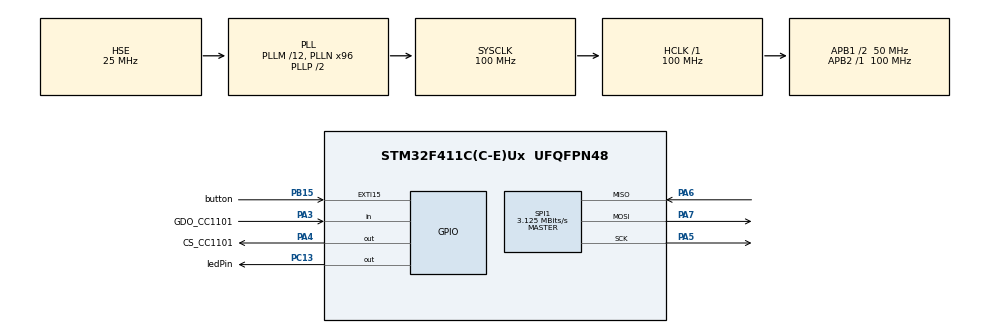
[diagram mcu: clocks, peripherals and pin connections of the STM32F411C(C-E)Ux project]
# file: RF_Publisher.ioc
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Mcu.Family=STM32F4
Mcu.Name=STM32F411C(C-E)Ux
Mcu.Package=UFQFPN48
NVIC.EXTI15_10_IRQn=true\:0\:0\:false\:false\:true\:true\:true\:true
NVIC.PriorityGroup=NVIC_PRIORITYGROUP_4
PA13.Mode=Serial_Wire
PA13.Signal=SYS_JTMS-SWDIO
PA14.Mode=Serial_Wire
PA14.Signal=SYS_JTCK-SWCLK
PA3.GPIO_Label=GDO_CC1101
PA3.GPIO_PuPd=GPIO_PULLDOWN
PA3.Signal=GPIO_Input
PA4.GPIO_Label=CS_CC1101
PA4.Signal=GPIO_Output
PA5.Mode=Full_Duplex_Master
PA5.Signal=SPI1_SCK
PA6.Mode=Full_Duplex_Master
PA6.Signal=SPI1_MISO
PA7.Mode=Full_Duplex_Master
PA7.Signal=SPI1_MOSI
PB15.GPIO_Label=button
PB15.GPIO_ModeDefaultEXTI=GPIO_MODE_IT_FALLING
PB15.GPIO_PuPd=GPIO_PULLUP
PB15.Signal=GPXTI15
PC13-ANTI_TAMP.GPIO_Label=ledPin
PC13-ANTI_TAMP.Signal=GPIO_Output
PH0\ -\ OSC_IN.Mode=HSE-External-Oscillator
PH0\ -\ OSC_IN.Signal=RCC_OSC_IN
PH1\ -\ OSC_OUT.Mode=HSE-External-Oscillator
PH1\ -\ OSC_OUT.Signal=RCC_OSC_OUT
ProjectManager.HeapSize=0x200
ProjectManager.StackSize=0x400
ProjectManager.TargetToolchain=CMake
RCC.48MHZClocksFreq_Value=50000000
RCC.AHBFreq_Value=100000000
RCC.APB1CLKDivider=RCC_HCLK_DIV2
RCC.APB1Freq_Value=50000000
RCC.APB1TimFreq_Value=100000000
RCC.APB2Freq_Value=100000000
RCC.APB2TimFreq_Value=100000000
RCC.CortexFreq_Value=100000000
RCC.HCLKFreq_Value=100000000
RCC.HSE_VALUE=25000000
RCC.HSI_VALUE=16000000
RCC.LSE_VALUE=32768
RCC.PLLM=12
RCC.PLLN=96
RCC.PLLSourceVirtual=RCC_PLLSOURCE_HSE
RCC.SYSCLKFreq_VALUE=100000000
RCC.SYSCLKSource=RCC_SYSCLKSOURCE_PLLCLK
RCC.VCOOutputFreq_Value=200000000
SPI1.BaudRatePrescaler=SPI_BAUDRATEPRESCALER_32
SPI1.CalculateBaudRate=3.125 MBits/s
SPI1.Direction=SPI_DIRECTION_2LINES
SPI1.Mode=SPI_MODE_MASTER
SPI1.VirtualType=VM_MASTER
board=custom

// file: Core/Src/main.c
/* USER CODE BEGIN Header */
/**
  ******************************************************************************
  * @file           : main.c
  * @brief          : Main program body
  ******************************************************************************
  * @attention
  *
  * Copyright (c) 2026 STMicroelectronics.
  * All rights reserved.
  *
  * This software is licensed under terms that can be found in the LICENSE file
  * in the root directory of this software component.
  * If no LICENSE file comes with this software, it is provided AS-IS.
  *
  ******************************************************************************
  */
/* USER CODE END Header */
#include "main.h"

/* USER CODE BEGIN Includes */
#include "cc1101.h"
#include "stm32f4xx.h"
#include "stm32f4xx_hal_gpio.h"
#include <stdint.h>
/* USER CODE END Includes */

SPI_HandleTypeDef hspi1;

/* USER CODE BEGIN PV */
uint8_t CC1101_Version;
uint8_t CC1101_PartNum;
uint8_t tx_counter = 0;
uint8_t marcstate = 0;
volatile uint8_t button_pressed = 0;
/* USER CODE END PV */

void SystemClock_Config(void);
static void MX_GPIO_Init(void);
static void MX_SPI1_Init(void);

/* USER CODE BEGIN 0 */
// must put here so spi is in scope for the cc1101 struct initializer
CC1101_t cc1101 = {
    .hspi = &hspi1,
    .csPort = CS_CC1101_GPIO_Port,
    .csPin = CS_CC1101_Pin,
    .gdo0Port = GDO_CC1101_GPIO_Port,
    .gdo0Pin = GDO_CC1101_Pin
};
/* USER CODE END 0 */

int main(void)
{

  /* MCU Configuration--------------------------------------------------------*/

  /* Reset of all peripherals, Initializes the Flash interface and the Systick. */
  HAL_Init();

  /* Configure the system clock */
  SystemClock_Config();

  /* Initialize all configured peripherals */
  MX_GPIO_Init();
  MX_SPI1_Init();
  /* USER CODE BEGIN 2 */
if (!CC1101_Init(&cc1101)) {
    // Initialization failed, handle error (e.g., blink LED rapidly)
    while (1) {
        HAL_GPIO_TogglePin(ledPin_GPIO_Port, ledPin_Pin);
        HAL_Delay(50);
    }
}
CC1101_Version = CC1101_ReadReg(&cc1101, CC1101_VERSION);
CC1101_PartNum = CC1101_ReadReg(&cc1101, CC1101_PARTNUM);
CC1101_SetMaxPower(&cc1101); // Set max power for testing (limited for 433MHz)
  /* USER CODE END 2 */

  /* Infinite loop */
  /* USER CODE BEGIN WHILE */
  uint32_t last_heartbeat = 0;
  while (1)
  {
    if (HAL_GetTick() - last_heartbeat > 1000) {
        HAL_GPIO_TogglePin(ledPin_GPIO_Port, ledPin_Pin);
        last_heartbeat = HAL_GetTick();
    }
    if (button_pressed) {
        // Handle button press event
        //debounce
        HAL_Delay(50); // debounce
        if (HAL_GPIO_ReadPin(button_GPIO_Port, button_Pin) == GPIO_PIN_RESET) {
          CC1101_SendPacket(&cc1101, &tx_counter, sizeof(tx_counter));
          tx_counter++;
        }
        button_pressed = 0; // Reset flag
    }

  }
    /* USER CODE END WHILE */

}

void SystemClock_Config(void)
{
  RCC_OscInitTypeDef RCC_OscInitStruct = {0};
  RCC_ClkInitTypeDef RCC_ClkInitStruct = {0};

  /** Configure the main internal regulator output voltage
  */
  __HAL_RCC_PWR_CLK_ENABLE();
  __HAL_PWR_VOLTAGESCALING_CONFIG(PWR_REGULATOR_VOLTAGE_SCALE1);

  /** Initializes the RCC Oscillators according to the specified parameters
  * in the RCC_OscInitTypeDef structure.
  */
  RCC_OscInitStruct.OscillatorType = RCC_OSCILLATORTYPE_HSE;
  RCC_OscInitStruct.HSEState = RCC_HSE_ON;
  RCC_OscInitStruct.PLL.PLLState = RCC_PLL_ON;
  RCC_OscInitStruct.PLL.PLLSource = RCC_PLLSOURCE_HSE;
  RCC_OscInitStruct.PLL.PLLM = 12;
  RCC_OscInitStruct.PLL.PLLN = 96;
  RCC_OscInitStruct.PLL.PLLP = RCC_PLLP_DIV2;
  RCC_OscInitStruct.PLL.PLLQ = 4;
  if (HAL_RCC_OscConfig(&RCC_OscInitStruct) != HAL_OK)
  {
    Error_Handler();
  }

  /** Initializes the CPU, AHB and APB buses clocks
  */
  RCC_ClkInitStruct.ClockType = RCC_CLOCKTYPE_HCLK|RCC_CLOCKTYPE_SYSCLK
                              |RCC_CLOCKTYPE_PCLK1|RCC_CLOCKTYPE_PCLK2;
  RCC_ClkInitStruct.SYSCLKSource = RCC_SYSCLKSOURCE_PLLCLK;
  RCC_ClkInitStruct.AHBCLKDivider = RCC_SYSCLK_DIV1;
  RCC_ClkInitStruct.APB1CLKDivider = RCC_HCLK_DIV2;
  RCC_ClkInitStruct.APB2CLKDivider = RCC_HCLK_DIV1;

  if (HAL_RCC_ClockConfig(&RCC_ClkInitStruct, FLASH_LATENCY_3) != HAL_OK)
  {
    Error_Handler();
  }
}

static void MX_SPI1_Init(void)
{

  /* SPI1 parameter configuration*/
  hspi1.Instance = SPI1;
  hspi1.Init.Mode = SPI_MODE_MASTER;
  hspi1.Init.Direction = SPI_DIRECTION_2LINES;
  hspi1.Init.DataSize = SPI_DATASIZE_8BIT;
  hspi1.Init.CLKPolarity = SPI_POLARITY_LOW;
  hspi1.Init.CLKPhase = SPI_PHASE_1EDGE;
  hspi1.Init.NSS = SPI_NSS_SOFT;
  hspi1.Init.BaudRatePrescaler = SPI_BAUDRATEPRESCALER_32;
  hspi1.Init.FirstBit = SPI_FIRSTBIT_MSB;
  hspi1.Init.TIMode = SPI_TIMODE_DISABLE;
  hspi1.Init.CRCCalculation = SPI_CRCCALCULATION_DISABLE;
  hspi1.Init.CRCPolynomial = 10;
  if (HAL_SPI_Init(&hspi1) != HAL_OK)
  {
    Error_Handler();
  }

}

static void MX_GPIO_Init(void)
{
  GPIO_InitTypeDef GPIO_InitStruct = {0};

  /* GPIO Ports Clock Enable */
  __HAL_RCC_GPIOC_CLK_ENABLE();
  __HAL_RCC_GPIOH_CLK_ENABLE();
  __HAL_RCC_GPIOA_CLK_ENABLE();
  __HAL_RCC_GPIOB_CLK_ENABLE();

  /*Configure GPIO pin Output Level */
  HAL_GPIO_WritePin(ledPin_GPIO_Port, ledPin_Pin, GPIO_PIN_RESET);

  /*Configure GPIO pin Output Level */
  HAL_GPIO_WritePin(CS_CC1101_GPIO_Port, CS_CC1101_Pin, GPIO_PIN_RESET);

  /*Configure GPIO pin : ledPin_Pin */
  GPIO_InitStruct.Pin = ledPin_Pin;
  GPIO_InitStruct.Mode = GPIO_MODE_OUTPUT_PP;
  GPIO_InitStruct.Pull = GPIO_NOPULL;
  GPIO_InitStruct.Speed = GPIO_SPEED_FREQ_LOW;
  HAL_GPIO_Init(ledPin_GPIO_Port, &GPIO_InitStruct);

  /*Configure GPIO pin : GDO_CC1101_Pin */
  GPIO_InitStruct.Pin = GDO_CC1101_Pin;
  GPIO_InitStruct.Mode = GPIO_MODE_INPUT;
  GPIO_InitStruct.Pull = GPIO_PULLDOWN;
  HAL_GPIO_Init(GDO_CC1101_GPIO_Port, &GPIO_InitStruct);

  /*Configure GPIO pin : CS_CC1101_Pin */
  GPIO_InitStruct.Pin = CS_CC1101_Pin;
  GPIO_InitStruct.Mode = GPIO_MODE_OUTPUT_PP;
  GPIO_InitStruct.Pull = GPIO_NOPULL;
  GPIO_InitStruct.Speed = GPIO_SPEED_FREQ_LOW;
  HAL_GPIO_Init(CS_CC1101_GPIO_Port, &GPIO_InitStruct);

  /*Configure GPIO pin : button_Pin */
  GPIO_InitStruct.Pin = button_Pin;
  GPIO_InitStruct.Mode = GPIO_MODE_IT_FALLING;
  GPIO_InitStruct.Pull = GPIO_PULLUP;
  HAL_GPIO_Init(button_GPIO_Port, &GPIO_InitStruct);

  /* EXTI interrupt init*/
  HAL_NVIC_SetPriority(EXTI15_10_IRQn, 0, 0);
  HAL_NVIC_EnableIRQ(EXTI15_10_IRQn);

}

/* USER CODE BEGIN 4 */
void HAL_GPIO_EXTI_Callback(uint16_t GPIO_Pin)
{
  if (GPIO_Pin == button_Pin) {
    button_pressed = 1; // Set flag to indicate button was pressed
  }
}
/* USER CODE END 4 */

void Error_Handler(void)
{
  __disable_irq();
  while (1)
  {
  }
}
